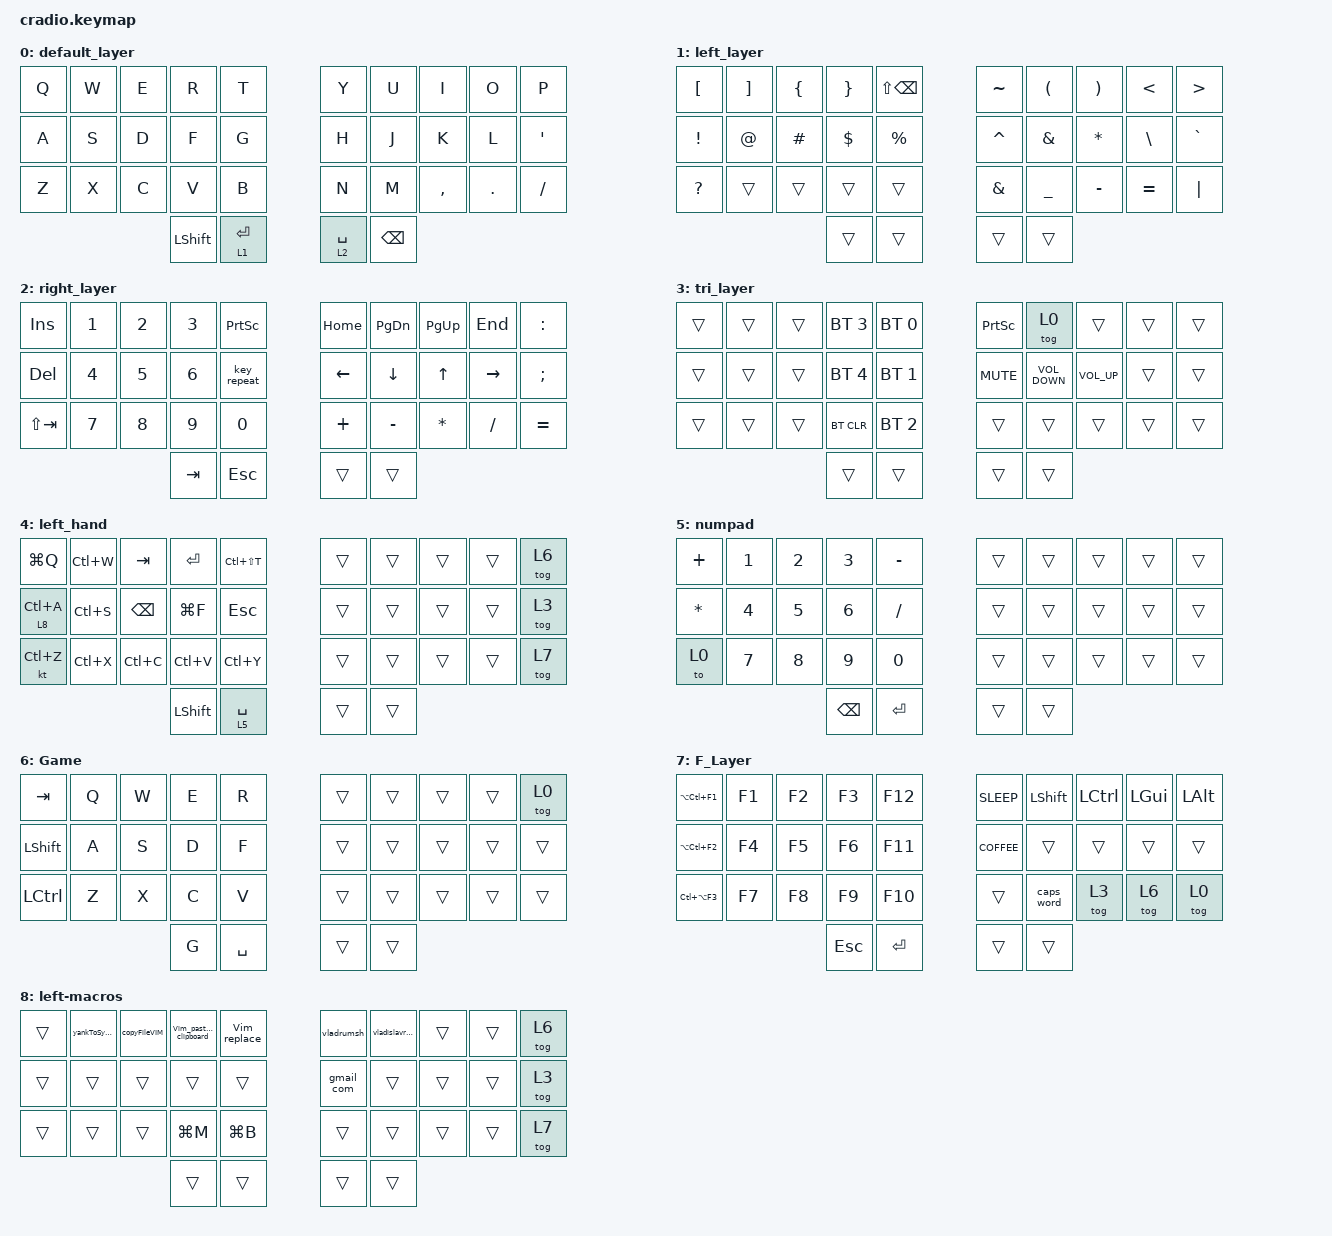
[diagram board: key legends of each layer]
#include <behaviors.dtsi>
#include <dt-bindings/zmk/bt.h>
#include <dt-bindings/zmk/keys.h>
#include <dt-bindings/zmk/keys.h>

/ {
    combos {
        compatible = "zmk,combos";

        L_ALT {
            bindings = <&kp LEFT_ALT>;
            key-positions = <20 21 22>;
            layers = <0>;
        };

        R_ALT {
            bindings = <&kp RIGHT_ALT>;
            key-positions = <29 28 27>;
            layers = <0>;
        };

        L_GUI {
            bindings = <&kp LEFT_GUI>;
            key-positions = <0 1 2>;
            layers = <0>;
        };

        R_GUI {
            bindings = <&kp RIGHT_GUI>;
            key-positions = <7 8 9>;
            layers = <0>;
        };

        R_CTRL {
            bindings = <&kp RCTRL>;
            key-positions = <17 18 19>;
            layers = <0>;
        };

        L_CTRL {
            bindings = <&kp LCTRL>;
            key-positions = <11 10 12>;
            layers = <0>;
        };

        L_ALT+CTRL {
            bindings = <&kp LA(LCTRL)>;
            key-positions = <20 21 22 23>;
            layers = <0>;
        };

        R_ALT+CTRL {
            bindings = <&kp RA(RCTRL)>;
            key-positions = <29 28 27 26>;
            layers = <0>;
        };

        L_ALT+CTRL_GUI {
            bindings = <&kp LA(LG(LCTRL))>;
            key-positions = <20 21 22 24>;
            layers = <0>;
        };

        R_ALT+CTRL_GUI {
            bindings = <&kp RA(RG(RCTRL))>;
            key-positions = <29 28 27 25>;
            layers = <0>;
        };

        L_GUI+ALT {
            bindings = <&kp LA(LEFT_GUI)>;
            key-positions = <0 1 2 4>;
            layers = <0>;
        };

        R_GUI+ALT {
            bindings = <&kp RA(RIGHT_GUI)>;
            key-positions = <7 8 9 5>;
            layers = <0>;
        };

        L_GUI+CTRL {
            bindings = <&kp LC(LEFT_GUI)>;
            key-positions = <0 1 2 3>;
            layers = <0>;
        };

        R_GUI+CTRL {
            bindings = <&kp RC(RIGHT_GUI)>;
            key-positions = <7 8 9 6>;
            layers = <0>;
        };

        combo-bootloader {
            bindings = <&bootloader>;
            key-positions = <10 19>;
            layers = <3>;
        };

        combo-reset {
            bindings = <&sys_reset>;
            key-positions = <0 9>;
            layers = <3>;
        };

        combo_bt-reset {
            bindings = <&bt BT_CLR_ALL>;
            key-positions = <20 29>;
            layers = <3>;
        };

        enter+shift {
            bindings = <&kp LS(ENTER)>;
            key-positions = <30 3 1 2>;
            layers = <0>;
        };

        left_hand {
            bindings = <&to 4>;
            key-positions = <30 21 22 23>;
            layers = <0>;
        };

        numpad_layer_toggle {
            bindings = <&to 5>;
            key-positions = <21 22 30 20>;
            layers = <0>;
        };

        from_game_to_default {
            bindings = <&to 0>;
            key-positions = <21 20 23 30>;
            layers = <6 4>;
        };

        To_F_Layer {
            bindings = <&mo 7>;
            key-positions = <32 8 7 9>;
            layers = <0>;
        };

        toggleLeftHand {
            bindings = <&mo 4>;
            key-positions = <28 26 33 27>;
            layers = <0>;
        };
    };

    macros {
        yankToSystemVIM: new_macro {
            compatible = "zmk,behavior-macro";
            #binding-cells = <0>;
            bindings = <&kp DQT &kp PLUS &kp Y>;
            label = "NEW_MACRO";
        };

        copyFileVIM: copyFileVIM {
            compatible = "zmk,behavior-macro";
            #binding-cells = <0>;
            bindings = <&kp G &kp G &kp LS(V) &kp LS(G) &kp DQT &kp PLUS &kp Y>;
            label = "COPYFILEVIM";
        };

        vladrumsh: vladrumsh {
            compatible = "zmk,behavior-macro";
            #binding-cells = <0>;
            bindings = <&kp V &kp L &kp A &kp D &kp R &kp U &kp M &kp S &kp H>;
            label = "VLADRUMSH";
        };

        vladislavrumsh: vladislavrumsh {
            compatible = "zmk,behavior-macro";
            #binding-cells = <0>;
            bindings = <&kp V &kp L &kp A &kp D &kp I &kp S &kp L &kp A &kp V &kp R &kp U &kp M &kp S &kp H>;
            label = "VLADISLAVRUMSH";
        };

        gmail_com: gmail_com {
            compatible = "zmk,behavior-macro";
            #binding-cells = <0>;
            bindings = <&kp AT_SIGN &kp G &kp M &kp A &kp I &kp L &kp PERIOD &kp C &kp O &kp M>;
            label = "GMAIL_COM";
        };

        Vim_paste_from_clipboard: Vim_paste_from_clipboard {
            compatible = "zmk,behavior-macro";
            #binding-cells = <0>;
            bindings = <&kp DOUBLE_QUOTES &kp PLUS &kp P>;
            label = "VIM_PASTE_FROM_CLIPBOARD";
        };

        Vim_replace: Vim_replace {
            compatible = "zmk,behavior-macro";
            #binding-cells = <0>;
            bindings = <&kp COLON &kp PERCENT &kp S &kp SLASH>;
            label = "VIM_REPLACE";
        };
    };

    keymap {
        compatible = "zmk,keymap";

        default_layer {
            bindings = <
&kp Q  &kp W  &kp E  &kp R           &kp T          &kp Y        &kp U          &kp I      &kp O    &kp P
&kp A  &kp S  &kp D  &kp F           &kp G          &kp H        &kp J          &kp K      &kp L    &kp SQT
&kp Z  &kp X  &kp C  &kp V           &kp B          &kp N        &kp M          &kp COMMA  &kp DOT  &kp SLASH
                     &kp LEFT_SHIFT  &lt 1 ENTER    &lt 2 SPACE  &kp BACKSPACE
            >;
        };

        left_layer {
            bindings = <
&kp LBKT      &kp RIGHT_BRACKET  &kp LBRC  &kp RBRC  &kp LS(BACKSPACE)    &kp TILDE  &kp LPAR       &kp RPAR      &kp LESS_THAN  &kp GREATER_THAN
&kp EXCL      &kp AT             &kp HASH  &kp DLLR  &kp PRCNT            &kp CARET  &kp AMPERSAND  &kp ASTERISK  &kp BSLH       &kp GRAVE
&kp QUESTION  &trans             &trans    &trans    &trans               &kp AMPS   &kp UNDER      &kp MINUS     &kp EQUAL      &kp PIPE
                                           &trans    &trans               &trans     &trans
            >;
        };

        right_layer {
            bindings = <
&kp INSERT   &kp N1  &kp N2  &kp N3   &kp PRINTSCREEN    &kp HOME        &kp PG_DN  &kp PG_UP     &kp END    &kp COLON
&kp DEL      &kp N4  &kp N5  &kp N6   &key_repeat        &kp LEFT_ARROW  &kp DOWN   &kp UP_ARROW  &kp RIGHT  &kp SEMICOLON
&kp LS(TAB)  &kp N7  &kp N8  &kp N9   &kp N0             &kp PLUS        &kp MINUS  &kp ASTERISK  &kp SLASH  &kp EQUAL
                             &kp TAB  &kp ESC            &trans          &trans
            >;
        };

        tri_layer {
            bindings = <
&trans  &trans  &trans  &bt BT_SEL 3  &bt BT_SEL 0    &kp PRINTSCREEN  &tog 0             &trans           &trans  &trans
&trans  &trans  &trans  &bt BT_SEL 4  &bt BT_SEL 1    &kp K_MUTE       &kp C_VOLUME_DOWN  &kp C_VOLUME_UP  &trans  &trans
&trans  &trans  &trans  &bt BT_CLR    &bt BT_SEL 2    &trans           &trans             &trans           &trans  &trans
                        &trans        &trans          &trans           &trans
            >;
        };

        left_hand {
            bindings = <
&kp LG(Q)    &kp LC(W)  &kp TAB        &kp ENTER       &kp LC(LS(T))    &trans  &trans  &trans  &trans  &tog 6
&lt 8 LC(A)  &kp LC(S)  &kp BACKSPACE  &kp LG(F)       &kp ESCAPE       &trans  &trans  &trans  &trans  &tog 3
&kt LC(Z)    &kp LC(X)  &kp LC(C)      &kp LC(V)       &kp LC(Y)        &trans  &trans  &trans  &trans  &tog 7
                                       &kp LEFT_SHIFT  &lt 5 SPACE      &trans  &trans
            >;
        };

        numpad {
            bindings = <
&kp PLUS      &kp NUMBER_1  &kp NUMBER_2  &kp NUMBER_3   &kp MINUS       &trans  &trans  &trans  &trans  &trans
&kp ASTERISK  &kp NUMBER_4  &kp N5        &kp NUMBER_6   &kp SLASH       &trans  &trans  &trans  &trans  &trans
&to 0         &kp N7        &kp N8        &kp N9         &kp NUMBER_0    &trans  &trans  &trans  &trans  &trans
                                          &kp BACKSPACE  &kp ENTER       &trans  &trans
            >;
        };

        Game {
            bindings = <
&kp TAB     &kp Q  &kp W  &kp E  &kp R        &trans  &trans  &trans  &trans  &tog 0
&kp LSHIFT  &kp A  &kp S  &kp D  &kp F        &trans  &trans  &trans  &trans  &trans
&kp LCTRL   &kp Z  &kp X  &kp C  &kp V        &trans  &trans  &trans  &trans  &trans
                          &kp G  &kp SPACE    &trans  &trans
            >;
        };

        F_Layer {
            bindings = <
&kp LA(LC(F1))  &kp F1  &kp F2  &kp F3      &kp F12      &kp K_SLEEP   &kp LEFT_SHIFT  &kp LEFT_CONTROL  &kp LEFT_GUI  &kp LEFT_ALT
&kp LA(LC(F2))  &kp F4  &kp F5  &kp F6      &kp F11      &kp K_COFFEE  &trans          &trans            &trans        &trans
&kp LC(LA(F3))  &kp F7  &kp F8  &kp F9      &kp F10      &trans        &caps_word      &tog 3            &tog 6        &tog 0
                                &kp ESCAPE  &kp ENTER    &trans        &trans
            >;
        };

        left-macros {
            bindings = <
&trans  &yankToSystemVIM  &copyFileVIM  &Vim_paste_from_clipboard  &Vim_replace    &vladrumsh  &vladislavrumsh  &trans  &trans  &tog 6
&trans  &trans            &trans        &trans                     &trans          &gmail_com  &trans           &trans  &trans  &tog 3
&trans  &trans            &trans        &kp LG(M)                  &kp LG(B)       &trans      &trans           &trans  &trans  &tog 7
                                        &trans                     &trans          &trans      &trans
            >;
        };
    };

    conditional_layers {
        compatible = "zmk,conditional-layers";

        cond_layer1 {
            if-layers = <2 1>;
            then-layer = <3>;
        };
    };
};
